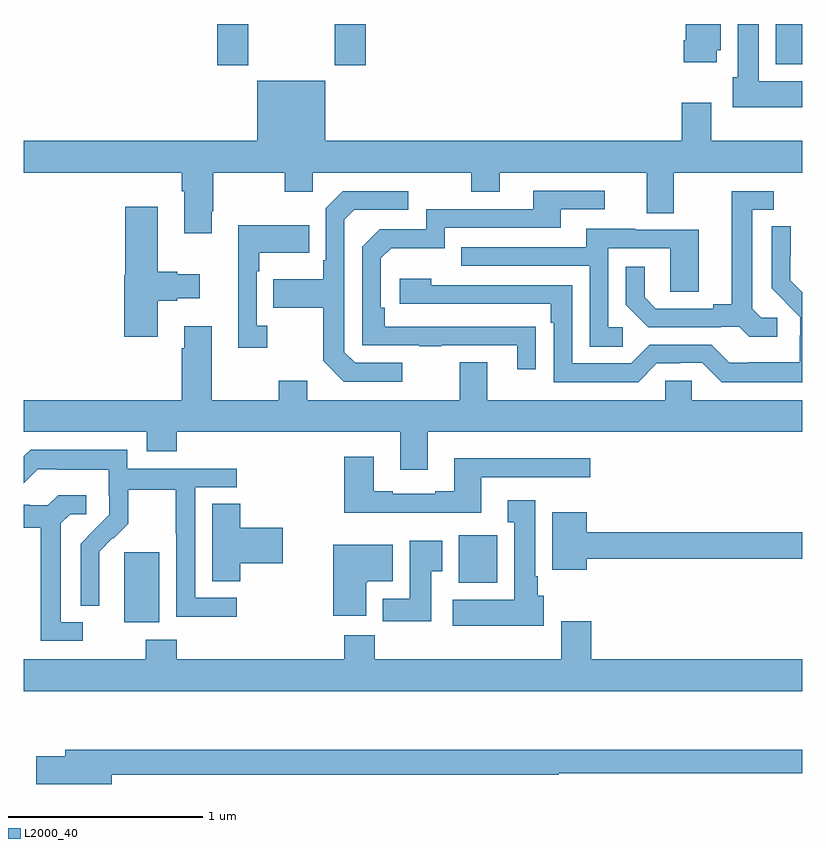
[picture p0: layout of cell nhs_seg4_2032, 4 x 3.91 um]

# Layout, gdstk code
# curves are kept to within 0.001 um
import gdstk
lib = gdstk.Library(unit=1e-6, precision=1e-09)
def R(c, l, rs):  # rectangles x0, y0, x1, y1
    for r in rs: c.add(gdstk.rectangle(r[:2], r[2:], *l))
def P(c, l, *ps):  # polygons
    for p in ps: c.add(gdstk.Polygon(p, *l))
L2000_40 = (2000, 40)

nhs_seg4_2032 = lib.new_cell('nhs_seg4_2032')
R(nhs_seg4_2032, L2000_40, [(215.516,811.826,215.695,812.187), (217.235,812.03,217.432,812.272), (215.993,814.689,216.153,814.9), (216.598,814.689,216.758,814.9), (218.865,814.694,219,814.9)])
P(nhs_seg4_2032, L2000_40, [(219,814.606),(218.776,814.606),(218.776,814.9),(218.669,814.9),(218.669,814.626),(218.642,814.626),(218.642,814.472),(219,814.472)],
  [(218.56,814.764),(218.581,814.764),(218.581,814.9),(218.402,814.9),(218.402,814.816),(218.39,814.816),(218.39,814.704),(218.56,814.704)],
  [(215.965,813.937),(215.973,813.937),(215.973,814.136),(216.34,814.136),(216.34,814.037),(216.486,814.037),(216.486,814.136),(217.3,814.136),(217.3,814.037),(217.447,814.037),(217.447,814.136),(218.201,814.136),(218.201,813.928),(218.341,813.928),(218.341,814.136),(219,814.136),(219,814.3),(218.533,814.3),(218.533,814.495),(218.381,814.495),(218.381,814.3),(216.55,814.3),(216.55,814.609),(216.2,814.609),(216.2,814.3),(215,814.3),(215,814.136),(215.813,814.136),(215.813,814.04),(215.825,814.04),(215.825,813.825),(215.965,813.825)],
  [(217.631,813.344),(216.854,813.345),(216.854,813.442),(216.834,813.442),(216.834,813.696),(216.887,813.749),(217.164,813.749),(217.164,813.852),(217.759,813.852),(217.759,813.948),(217.984,813.948),(217.984,814.044),(217.619,814.044),(217.619,813.948),(217.068,813.948),(217.068,813.846),(216.828,813.846),(216.738,813.756),(216.738,813.249),(217.033,813.249),(217.033,813.244),(217.145,813.244),(217.145,813.249),(217.535,813.249),(217.535,813.126),(217.631,813.126)],
  [(218.872,813.39),(218.79,813.39),(218.743,813.437),(218.743,813.945),(218.854,813.945),(218.854,814.041),(218.639,814.041),(218.639,813.461),(218.543,813.461),(218.543,813.438),(218.248,813.438),(218.191,813.495),(218.191,813.652),(218.094,813.652),(218.094,813.458),(218.21,813.342),(218.582,813.342),(218.582,813.345),(218.676,813.345),(218.728,813.293),(218.872,813.293)],
  [(216.946,813.159),(216.702,813.159),(216.648,813.213),(216.648,813.894),(216.699,813.945),(216.976,813.945),(216.976,814.041),(216.639,814.041),(216.552,813.954),(216.552,813.685),(216.54,813.685),(216.54,813.589),(216.283,813.589),(216.283,813.442),(216.54,813.442),(216.54,813.169),(216.645,813.063),(216.946,813.063)],
  [(215.689,813.479),(215.789,813.479),(215.789,813.491),(215.905,813.491),(215.905,813.613),(215.789,813.613),(215.789,813.626),(215.689,813.626),(215.689,813.961),(215.522,813.961),(215.522,813.609),(215.516,813.609),(215.516,813.294),(215.689,813.294)],
  [(216.25,813.35),(216.198,813.35),(216.198,813.629),(216.211,813.629),(216.211,813.725),(216.467,813.725),(216.467,813.865),(216.101,813.865),(216.101,813.237),(216.25,813.237)],
  [(219,813.522),(218.939,813.584),(218.94,813.86),(218.844,813.86),(218.844,813.542),(218.99,813.394),(218.99,813.297),(218.988,813.297),(218.988,813.163),(218.725,813.163),(218.725,813.159),(218.625,813.159),(218.532,813.252),(218.217,813.252),(218.121,813.156),(217.818,813.156),(217.818,813.558),(217.094,813.558),(217.094,813.592),(216.933,813.592),(216.933,813.462),(217.709,813.462),(217.709,813.365),(217.722,813.365),(217.722,813.06),(218.157,813.06),(218.253,813.156),(218.372,813.156),(218.372,813.159),(218.487,813.159),(218.587,813.059),(219,813.059)],
  [(218.077,813.342),(218.004,813.342),(218.004,813.747),(218.322,813.747),(218.322,813.523),(218.467,813.523),(218.467,813.843),(218.143,813.843),(218.143,813.847),(217.889,813.847),(217.889,813.753),(217.249,813.753),(217.249,813.657),(217.908,813.657),(217.908,813.241),(218.077,813.241)],
  [(217.075,812.804),(219,812.804),(219,812.968),(218.433,812.968),(218.433,813.066),(218.295,813.066),(218.295,812.968),(217.381,812.968),(217.381,813.163),(217.241,813.163),(217.241,812.968),(216.457,812.968),(216.457,813.067),(216.31,813.067),(216.31,812.968),(215.965,812.968),(215.965,813.346),(215.825,813.346),(215.825,813.233),(215.813,813.233),(215.813,812.968),(215,812.968),(215,812.804),(215.633,812.804),(215.633,812.705),(215.786,812.705),(215.786,812.804),(216.935,812.804),(216.935,812.61),(217.075,812.61)],
  [(216.094,811.953),(215.88,811.953),(215.88,812.52),(216.094,812.52),(216.094,812.616),(215.532,812.616),(215.532,812.713),(215.035,812.713),(215,812.678),(215,812.54),(215.073,812.613),(215.173,812.613),(215.173,812.609),(215.436,812.609),(215.436,812.475),(215.438,812.475),(215.438,812.378),(215.292,812.23),(215.292,811.912),(215.388,811.912),(215.387,812.189),(215.457,812.259),(215.46,812.256),(215.537,812.333),(215.537,812.508),(215.782,812.508),(215.782,812.284),(215.784,812.284),(215.784,811.855),(216.094,811.855)],
  [(217.351,812.571),(217.912,812.571),(217.912,812.668),(217.211,812.668),(217.211,812.5),(217.115,812.5),(217.115,812.487),(216.895,812.487),(216.895,812.5),(216.799,812.5),(216.799,812.677),(216.647,812.677),(216.647,812.39),(217.351,812.39)],
  [(215.302,811.827),(215.191,811.827),(215.191,812.335),(215.238,812.382),(215.32,812.382),(215.32,812.479),(215.176,812.479),(215.124,812.427),(215.03,812.427),(215.03,812.43),(215,812.43),(215,812.312),(215.087,812.312),(215.087,811.731),(215.302,811.731)],
  [(217.672,811.962),(217.642,811.962),(217.642,812.062),(217.627,812.062),(217.627,812.452),(217.487,812.452),(217.487,812.339),(217.52,812.339),(217.52,811.942),(217.203,811.942),(217.203,811.808),(217.672,811.808)],
  [(216.113,812.129),(216.331,812.129),(216.331,812.312),(216.113,812.312),(216.113,812.435),(215.969,812.435),(215.969,812.038),(216.113,812.038)],
  [(217.894,812.152),(219,812.152),(219,812.288),(217.894,812.288),(217.894,812.392),(217.715,812.392),(217.715,812.096),(217.894,812.096)],
  [(217.093,812.089),(217.15,812.089),(217.15,812.245),(216.983,812.245),(216.983,811.948),(216.845,811.948),(216.845,811.83),(217.093,811.83)],
  [(216.76,812.03),(216.766,812.03),(216.766,812.036),(216.895,812.036),(216.895,812.224),(216.59,812.224),(216.59,811.86),(216.76,811.86)],
  [(219,811.636),(217.916,811.636),(217.916,811.831),(217.763,811.831),(217.763,811.636),(216.803,811.636),(216.803,811.76),(216.647,811.76),(216.647,811.636),(215.786,811.636),(215.786,811.735),(215.626,811.735),(215.626,811.636),(215,811.636),(215,811.472),(219,811.472)],
  [(215.452,811.042),(217.748,811.042),(217.748,811.05),(219,811.05),(219,811.171),(215.213,811.171),(215.213,811.137),(215.064,811.137),(215.064,810.995),(215.452,810.995)])

lib.write_gds('nhs_seg4_2032.gds')
